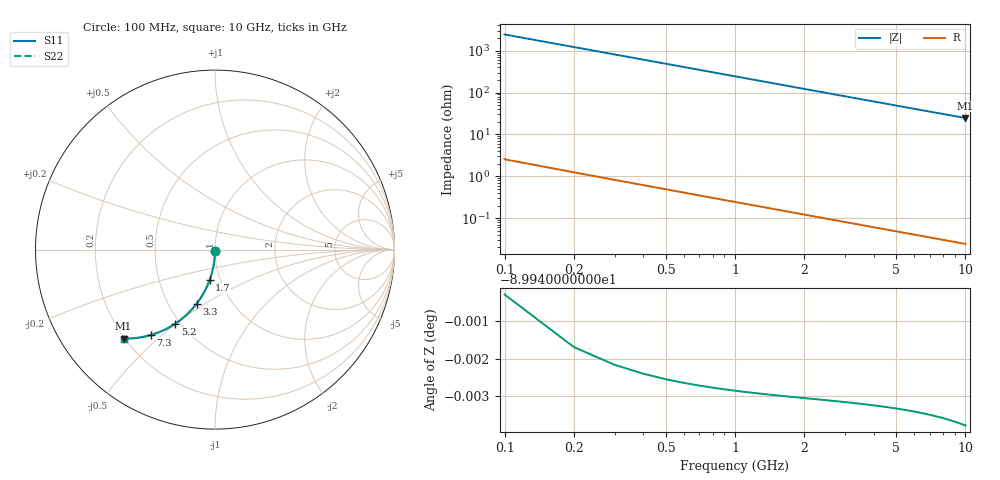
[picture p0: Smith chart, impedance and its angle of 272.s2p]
# Hz S RI R 50.00
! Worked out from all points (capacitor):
!   100 points, 100 MHz to 10 GHz, reference 50 ohm
!   read as one part in shunt: C = 653 fF near 100 MHz
!   lowest |Z| = 24.6 ohm at 10 GHz (marker M1)
!   S11 on the Smith chart (normalised r, x): 100 MHz: 1.00, -0.02; 1.7 GHz: 0.89, -0.31; 3.3 GHz: 0.69, -0.46; 5.2 GHz: 0.47, -0.50; 7.3 GHz: 0.31, -0.46; 10 GHz: 0.20, -0.39
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1e8  -0.000101 -0.0102  0.9999 -0.0103  0.9999 -0.0103  -0.000101 -0.0102
2e8  -0.000426 -0.0204  0.9995 -0.0206  0.9995 -0.0206  -0.000426 -0.0204
3e8  -0.000961 -0.0306  0.999 -0.0308  0.999 -0.0308  -0.000961 -0.0306
4e8  -0.0017 -0.0408  0.9983 -0.0411  0.9983 -0.0411  -0.0017 -0.0408
5e8  -0.00266 -0.0509  0.9973 -0.0513  0.9973 -0.0513  -0.00266 -0.0509
6e8  -0.00381 -0.061  0.9962 -0.0615  0.9962 -0.0615  -0.00381 -0.061
8e8  -0.00674 -0.0811  0.9932 -0.0817  0.9932 -0.0817  -0.00674 -0.0811
1.1e9  -0.0126 -0.1109  0.9873 -0.1117  0.9873 -0.1117  -0.0126 -0.1109
1.4e9  -0.0203 -0.14  0.9797 -0.1411  0.9797 -0.1411  -0.0203 -0.14
1.7e9  -0.0296 -0.1683  0.9704 -0.1696  0.9704 -0.1696  -0.0296 -0.1683
1.8e9  -0.033 -0.1776  0.9669 -0.179  0.9669 -0.179  -0.033 -0.1776
2.1e9  -0.0444 -0.2047  0.9556 -0.2063  0.9556 -0.2063  -0.0444 -0.2047
2.5e9  -0.0617 -0.2392  0.9383 -0.2411  0.9383 -0.2411  -0.0617 -0.2392
3.3e9  -0.1026 -0.3017  0.8974 -0.3042  0.8974 -0.3042  -0.1026 -0.3017
3.4e9  -0.1082 -0.3088  0.8918 -0.3115  0.8918 -0.3115  -0.1082 -0.3088
4.2e9  -0.156 -0.3607  0.844 -0.364  0.844 -0.364  -0.156 -0.3607
5.1e9  -0.2139 -0.4075  0.7861 -0.4116  0.7861 -0.4116  -0.2139 -0.4075
5.2e9  -0.2204 -0.412  0.7795 -0.4161  0.7795 -0.4161  -0.2204 -0.412
6.7e9  -0.3189 -0.4629  0.6811 -0.4682  0.6811 -0.4682  -0.3189 -0.4629
7.3e9  -0.357 -0.4757  0.6429 -0.4815  0.6429 -0.4815  -0.357 -0.4757
8.4e9  -0.4233 -0.4903  0.5767 -0.4969  0.5767 -0.4969  -0.4233 -0.4903
1e10  -0.5093 -0.4954  0.4906 -0.5034  0.4906 -0.5034  -0.5093 -0.4954
